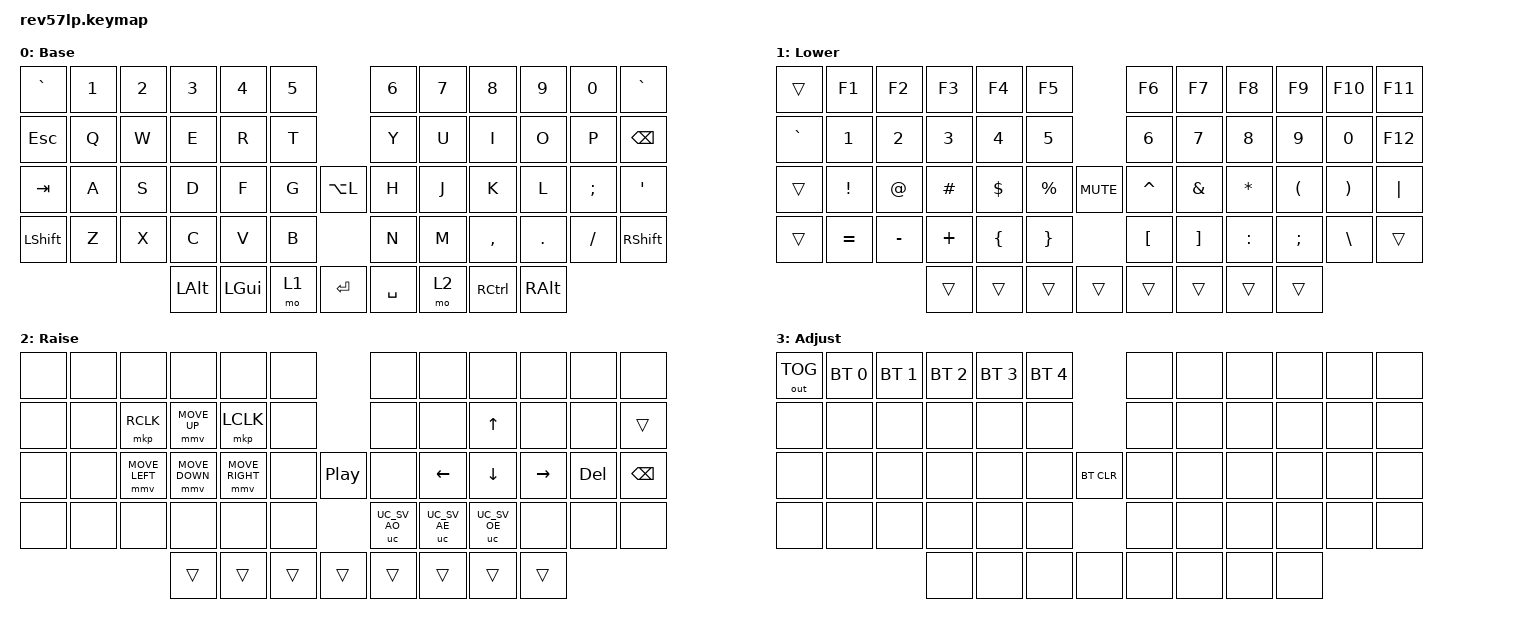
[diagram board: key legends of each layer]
/*
 * Copyright (c) 2022 The ZMK Contributors
 *
 * SPDX-License-Identifier: MIT
 */

#include <behaviors.dtsi>
#include <dt-bindings/zmk/keys.h>
#include <dt-bindings/zmk/bt.h>
#include <dt-bindings/zmk/outputs.h>
#include <dt-bindings/zmk/pointing.h>
#include <behaviors/unicode.dtsi>
#include <zmk-unicode/keys.h>
/* #include <dt-bindings/zmk/ext_power.h>  */
/* #include <dt-bindings/zmk/rgb.h> */

#define DEFAULT 0
#define LOWER   1
#define RAISE   2

// Optional: Overwrite default behavior properties
&uc {
  default-mode = <UC_MODE_LINUX>;  // Default to Linux input system
};

/ {
    conditional_layers {
        compatible = "zmk,conditional-layers";
        tri_layer {
            if-layers = <1 2>;
            then-layer = <3>;
        };
    };

    /* macros { */
    /*     forty_two: forty_two { */
    /*         label = "ZM_forty_two"; */
    /*         compatible = "zmk,behavior-macro"; */
    /*         #binding-cells = <0>; */
    /*         bindings */
    /*             = <&macro_tap &kp N4> */
    /*             , <&macro_tap &kp N2> */
    /*             ; */
    /*     }; */
    /* }; */
 
    /* combos { */
    /*     compatible = "zmk,combos"; */
    /**/
    /*     combo_BOOT { */
    /*         timeout-ms = <50>; */
    /*         key-positions = <4 5 6 7>; */
    /*         bindings = <&bootloader>; */
    /*     }; */
    /**/
    /*     combo_BT { */
    /*         timeout-ms = <50>; */
    /*         key-positions = <49 56>; */
    /*         bindings = <&mo BT>; */
    /*     }; */
    /* }; */

    keymap {
        compatible = "zmk,keymap";
        /*
        * QWERTY
        *                     ,-----------------------------------------,              ,-----------------------------------------.
        *                     |  `   |   1  |   2  |   3  |   4  |   5  |              |   6  |   7  |   8  |   9  |   0  |  `   |
        *                     |------+------+------+------+------+------|              |------+------+------+------+------+------|
        *                     | ESC  |   Q  |   W  |   E  |   R  |   T  |              |   Y  |   U  |   I  |   O  |   P  | Bspc |
        *                     |------+------+------+------+------+------|   ,------,   |------+------+------+------+------+------|
        *                     | Tab  |   A  |   S  |   D  |   F  |   G  |   | LOCK |   |   H  |   J  |   K  |   L  |   ;  |  '   |
        *                     |------+------+------+------+------+------|   '------'   |------+------+------+------+------+------|
        *                     |LShift|   Z  |   X  |   C  |   V  |   B  |              |   N  |   M  |   ,  |   .  |   /  |RShift|
        *                     `-----------------------------------------+-----,  ,-----+-----------------------------------------'
        *                                          | LAlt | LCTR |LOWER |Enter|  |Space|RAISE | RCTR | RAlt |
        *                                          '--------------------------'  '--------------------------'
        */

        base {
            display-name = "Base";
            bindings = <
              &kp GRAVE    &kp N1  &kp N2  &kp N3     &kp N4     &kp N5                                &kp N6     &kp N7    &kp N8       &kp N9      &kp N0      &kp GRAVE
              &kp ESC      &kp Q   &kp W   &kp E      &kp R      &kp T                                 &kp Y      &kp U     &kp I        &kp O       &kp P       &kp BACKSPACE
              &kp TAB      &kp A   &kp S   &kp D      &kp F      &kp G         &kp LA(L)               &kp H      &kp J     &kp K        &kp L       &kp SEMI    &kp SINGLE_QUOTE
              &kp LSHIFT   &kp Z   &kp X   &kp C      &kp V      &kp B                                 &kp N      &kp M     &kp COMMA    &kp PERIOD  &kp SLASH   &kp RSHIFT
                                           &kp LALT   &kp LGUI   &mo 1  &kp ENTER           &kp SPACE  &mo 2      &kp RCTRL &kp RALT
            >;
        };
        /*
        * LOWER
        *                     ,-----------------------------------------,              ,-----------------------------------------.
        *                     |  tr  |  F1  |  F2  |  F3  |  F4  |  F5  |              |  F6  |  F7  |  F8  |  F9  |  F10 |  F11 |
        *                     |------+------+------+------+------+------|              |------+------+------+------+------+------|
        *                     |   `  |   1  |   2  |   3  |   4  |   5  |              |   6  |   7  |   8  |   9  |   0  |  F12 |
        *                     |------+------+------+------+------+------|   ,------,   |------+------+------+------+------+------|
        *                     |  tr  |   !  |   @  |   #  |   $  |   %  |   | MUTE |   |   ^  |   &  |   *  |   (  |   )  |   |  |
        *                     |------+------+------+------+------+------|   '------'   |------+------+------+------+------+------|
        *                     |  tr  |   =  |   -  |   +  |   {  |   }  |              |   [  |   ]  |   ;  |   :  |   \  |  tr  |
        *                     `-----------------------------------------+-----,  ,-----+-----------------------------------------'
        *                                          |   tr |   tr |  tr  | tr  |  |  tr |  tr  |  tr  |  tr  |
        *                                          '--------------------------'  '--------------------------'
        */       
        lower {
            display-name = "Lower";
            bindings = <
              &trans     &kp F1     &kp F2     &kp F3    &kp F4    &kp F5                                    &kp F6     &kp F7      &kp F8     &kp F9     &kp F10       &kp F11
              &kp GRAVE  &kp N1     &kp N2     &kp N3    &kp N4    &kp N5                                    &kp N6     &kp N7      &kp N8     &kp N9     &kp N0        &kp F12
              &trans     &kp EXCL   &kp AT     &kp HASH  &kp DLLR  &kp PRCNT           &kp C_MUTE            &kp CARET  &kp AMPS    &kp ASTRK  &kp LPAR   &kp RPAR      &kp PIPE
              &trans     &kp EQUAL  &kp MINUS  &kp PLUS  &kp LBRC  &kp RBRC                                  &kp LBKT   &kp RBKT    &kp COLON  &kp SEMI   &kp BACKSLASH &trans
                                               &trans     &trans    &trans     &trans              &trans    &trans     &trans      &trans
            >;
        };

        /*
        * RAISE
        *                     ,-----------------------------------------,              ,-----------------------------------------.
        *                     |      |      |      |      |      |      |              |      |      |      |      |      |      |
        *                     |------+------+------+------+------+------|              |------+------+------+------+------+------|
        *                     |      |      | RCLK | MUP  | LCLK |      |              |      |      |  UP  |      |      |      |
        *                     |------+------+------+------+------+------|   ,------,   |------+------+------+------+------+------|
        *                     |      |   !  | MLEFT| MDOWN|MRIGHT|      |   |PL/PAU|   |      | LEFT | DOWN | RIGHT|  DEL | BSPC |
        *                     |------+------+------+------+------+------|   '------'   |------+------+------+------+------+------|
        *                     |      |      |      |      |      |      |              |   å  |   ä  |   ö  |      |      |      |
        *                     `-----------------------------------------+-----,  ,-----+-----------------------------------------'
        *                                          |   tr |   tr |  tr  | tr  |  |  tr |  tr  |  tr  |  tr  |
        *                                          '--------------------------'  '--------------------------'
        */
        raise {
            display-name = "Raise";
            bindings = <
              &none     &none  &none          &none          &none           &none                            &none        &none        &none        &none     &none      &none
              &none     &none  &mkp RCLK      &mmv MOVE_UP   &mkp LCLK       &none                            &none        &none        &kp UP       &none     &none      &trans
              &none     &none  &mmv MOVE_LEFT &mmv MOVE_DOWN &mmv MOVE_RIGHT &none     &kp C_PLAY_PAUSE       &none        &kp LEFT     &kp DOWN     &kp RIGHT &kp DELETE &kp BACKSPACE
              &none     &none  &none          &none          &none           &none                            &uc UC_SV_AO &uc UC_SV_AE &uc UC_SV_OE &none     &none      &none
                                              &trans         &trans          &trans  &trans           &trans  &trans       &trans       &trans
            >;
        };
        /*
        * ADJUST
        *                     ,-----------------------------------------,              ,-----------------------------------------.
        *                     |      |      |      |      |      |      |              |      |      |      |      |      |      |
        *                     |------+------+------+------+------+------|              |------+------+------+------+------+------|
        *                     |      |      |      |      |      |      |              |      |      |      |      |      |      |
        *                     |------+------+------+------+------+------|   ,------,   |------+------+------+------+------+------|
        *                     |      |      |      |      |      |      |   |      |   |      |      |      |      |      |      |
        *                     |------+------+------+------+------+------|   '------'   |------+------+------+------+------+------|
        *                     |      |      |      |      |      |      |              |      |      |      |      |      |      |
        *                     `-----------------------------------------+-----,  ,-----+-----------------------------------------'
        *                                          |      |      |      |     |  |     |      |      |      |
        *                                          '--------------------------'  '--------------------------'
        */
        blutut {
            display-name = "Adjust";
            bindings = <
              &out OUT_TOG  &bt BT_SEL 0  &bt BT_SEL 1  &bt BT_SEL 2  &bt BT_SEL 3  &bt BT_SEL 4                            &none  &none  &none  &none  &none  &none
              &none         &none         &none         &none         &none         &none                                   &none  &none  &none  &none  &none  &none
              &none         &none         &none         &none         &none         &none                &bt BT_CLR         &none  &none  &none  &none  &none  &none
              &none         &none         &none         &none         &none         &none                                   &none  &none  &none  &none  &none  &none
                                          &none         &none         &none         &none              &none  &none  &none  &none
            >;
        };
    };
};

